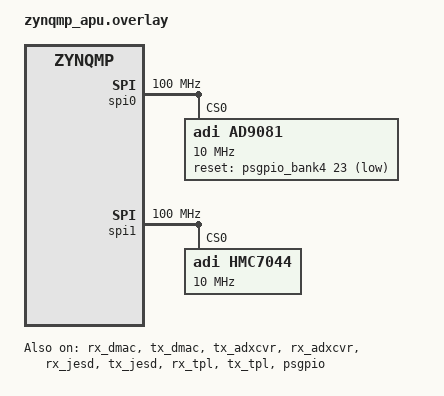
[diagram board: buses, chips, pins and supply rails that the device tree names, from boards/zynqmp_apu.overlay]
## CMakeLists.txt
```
# SPDX-License-Identifier: Apache-2.0

cmake_minimum_required(VERSION 3.20.0)
find_package(Zephyr REQUIRED HINTS $ENV{ZEPHYR_BASE})
project(ad9081_chipid)

target_sources(app PRIVATE
  src/main.c
  src/spi_mmio_fixup.c
  src/jesd_fsm.c
  src/jesd204_fsm.c
)

# Fault-injection tests: the failure/recovery paths a working board never takes.
# Off by default -- the tests break a live link on purpose.
target_sources_ifdef(CONFIG_AD9081_FAULT_INJECTION app PRIVATE
  src/fault_injection.c
)

target_include_directories(app PRIVATE src)
```

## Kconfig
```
# SPDX-License-Identifier: Apache-2.0

mainmenu "AD9081 JESD204B bring-up sample"

config AD9081_FAULT_INJECTION
	bool "Run JESD204 fault-injection tests after bring-up"
	help
	  Exercise the failure and recovery paths that a successful bring-up
	  never reaches: the FSM's failure accounting, the RX lane-desync
	  watchdog, link teardown followed by a second bring-up, and a GT
	  transceiver that cannot lock its PLL.

	  Enabling this compiles test-only hooks into axi_jesd204.c and
	  axi_adxcvr.c that let the tests force a lane-status value and
	  mis-program the RX GT clock mux. With it disabled (the default) none
	  of that code is built.

	  The tests deliberately break a working link and then rebuild it, so
	  do not leave this on in a normal build.

config AD9081_MXFE_INIT_PRIORITY
	int "AD9081/AD9082 MxFE init priority"
	default 70
	help
	  Initialisation priority of the AD9081 MxFE driver, within POST_KERNEL.

	  Must be above CONFIG_SPI_INIT_PRIORITY (default 50): the chip is
	  SPI-attached, and Zephyr SPI controllers initialise at POST_KERNEL.
	  There is a BUILD_ASSERT in ad9081.c for it.

	  Also above CONFIG_AD9081_JESD204_INIT_PRIORITY: the chip node points
	  at the two link cores with adi,jesd-{tx,rx}-link to read the link
	  geometry from them, and Zephyr treats a phandle as an init dependency
	  whether or not the driver dereferences the device at init (this one
	  does not -- it only reads their DT properties at build time).
	  check_init_priorities.py fails the build otherwise.

	  Nothing more is required, because init() only marks the device ready --
	  the chip is programmed by explicit ad9081_probe() /
	  ad9081_setup_datapath() calls from the bring-up sequence, which run
	  from main() and therefore after every driver here.

config AD9081_ADXCVR_INIT_PRIORITY
	int "AXI-ADXCVR (GT transceiver) init priority"
	default 65
	help
	  Initialisation priority of the AXI-ADXCVR driver, within POST_KERNEL.

	  Must be above CONFIG_CLOCK_CONTROL_HMC7044_INIT_PRIORITY: the adxcvr
	  nodes take `clocks = <&hmc7044 12>`, and Zephyr's init-priority
	  validation rejects a device that initialises before a devicetree
	  dependency. There is a BUILD_ASSERT in axi_adxcvr.c for it.

config AD9081_JESD204_INIT_PRIORITY
	int "AXI-JESD204 link-core init priority"
	default 65
	help
	  Initialisation priority of the AXI-JESD204 RX/TX link-core driver,
	  within POST_KERNEL.

	  Unconstrained in practice, same as the transport cores: the nodes have
	  no devicetree dependencies (this port does not model the PL lane and
	  device clocks, so there is no clocks phandle), and init() only marks
	  the devices ready. The register work is an explicit
	  axi_jesd204_configure() call from the bring-up sequence.

config AD9081_TPL_INIT_PRIORITY
	int "AXI-AD9081 transport-core (TPL) init priority"
	default 65
	help
	  Initialisation priority of the AXI-AD9081 RX/TX transport-core driver,
	  within POST_KERNEL.

	  Unconstrained in practice: the nodes have no devicetree dependencies
	  (the transport cores run off the sample clock inside the PL, so there
	  is no clocks phandle), and init() only marks the devices ready. The
	  register work is an explicit axi_tpl_configure() call from the
	  bring-up sequence.

source "Kconfig.zephyr"
```

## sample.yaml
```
sample:
  name: AD9081 + HMC7044 JESD204B bring-up
  description: >
    Bottom-up bring-up of the AD9081/AD9082 MxFE + HMC7044 clock over the
    ZynqMP PS Cadence SPI. Proves both SPI control planes (EMIO routing,
    clocking, CS, framing): HMC7044 scratchpad check on SPI1 and AD9081
    PROD_ID (0x9081/0x9082) on SPI0. Grows toward the full JESD204B link.
tests:
  sample.boards.amd.ad9081_chipid:
    platform_allow:
      - zynqmp_apu
    tags: spi
    harness: console
    harness_config:
      type: multi_line
      ordered: false
      regex:
        - "SUCCESS: HMC7044 scratchpad read/write confirmed"
        - "SUCCESS: AD90[89][12] detected over SPI"
```

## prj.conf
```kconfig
CONFIG_SPI=y
CONFIG_LOG=y
CONFIG_GPIO=y

# HMC7044 clock tree. The driver itself is enabled by its devicetree node
# (CONFIG_CLOCK_CONTROL_HMC7044 defaults to y on DT_HAS_ADI_HMC7044_ENABLED);
# this just turns the subsystem on.
CONFIG_CLOCK_CONTROL=y

# ADI JESD204 AXI IP cores in the PL: adxcvr, link cores, transport layer.
CONFIG_JESD204_AXI=y
CONFIG_AD9081_FAULT_INJECTION=n

# AD9081 datapath DMA engines (ADI AXI DMAC, RX S2MM + TX MM2S in the PL).
CONFIG_DMA=y

# 1:1 device_map() of the PL AXI IP-core pages (JESD204, adxcvr, TPL, DMA)
# each consume translation tables; the default (12) runs out. Give headroom.
CONFIG_MAX_XLAT_TABLES=24
CONFIG_LOG_MODE_IMMEDIATE=y
```

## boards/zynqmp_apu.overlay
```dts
#include <zephyr/dt-bindings/gpio/gpio.h>
#include <zephyr/dt-bindings/interrupt-controller/arm-gic.h>
#include <zephyr/dt-bindings/jesd204/adxcvr.h>

/*
 * Everything this sample needs is defined here in the overlay, so no shared
 * SoC/board devicetree files have to be touched. The arm64 zynqmp_a53.dtsi
 * ships without the PS SPI and PS GPIO controllers; we add them under /soc
 * (overlay nodes merge into the existing soc node).
 *
 * SPI0 -> AD9081/AD9082 (CS0), SPI1 -> HMC7044 (CS0), both PS Cadence SPI
 * routed over EMIO to the FMC. SPI reference clock is 100 MHz
 * (SPI0/1_REF_CTRL from the AD9081 XSA). On ZynqMP, no-OS maps the AD9081 to
 * PSU_SPI_0 / PHY_CS=0 and the HMC7044 to PSU_SPI_1 / CLK_CS=0.
 */
/ {
	soc {
		spi0: spi@ff040000 {
			compatible = "cdns,spi";
			reg = <0x0 0xff040000 0x0 0x1000>;
			status = "okay";
			interrupts = <GIC_SPI 19 IRQ_TYPE_LEVEL IRQ_DEFAULT_PRIORITY>;
			#address-cells = <1>;
			#size-cells = <0>;
			fifo-width = <8>;
			rx-fifo-depth = <128>;
			tx-fifo-depth = <128>;
			clock-frequency = <100000000>;

			/*
			 * AD9082 MxFE. Every value below is the no-OS
			 * zcu102_ad9081_m8_l4 profile
			 * (projects/ad9081/profiles/zcu102_ad9081_m8_l4/
			 * app_config.h), which is the ground truth for this
			 * board's wiring, cross-checked by
			 * tools/check_profile.py.
			 *
			 * Rates are in kHz: Zephyr's `type: int` is one 32-bit
			 * cell and the DAC runs at 12 GHz. NCO shifts stay in
			 * Hz -- they fit, and the vendor API takes Hz.
			 *
			 * Deliberately NOT here: the link geometry (M, L, F, K,
			 * N, NP, CS, S, subclass). It already lives in the
			 * tx_jesd/rx_jesd nodes below, once per direction, and
			 * a copy here is a third place for it to drift. The
			 * adi,jesd-{tx,rx}-link phandles point at those nodes
			 * and the driver reads it from them.
			 */
			ad9081: ad9081@0 {
				compatible = "adi,ad9081";
				reg = <0>;
				/* AD9081/AD9082 SPI: mode 0, MSB first.
				 * 10 MHz is safe for register access.
				 */
				spi-max-frequency = <10000000>;
				/*
				 * RSTB. no-OS zcu102 PHY_RESET =
				 * GPIO_OFFSET(78) + 55 = global PS GPIO 133 =
				 * EMIO pin 55 = bank4 (EMIO[63:32]) pin 23.
				 * Active low.
				 */
				reset-gpios = <&psgpio_bank4 23 GPIO_ACTIVE_LOW>;

				/*
				 * DAC 12 GHz, ADC 4 GHz, device REFCLK
				 * 250 MHz. REFCLK != DAC, so the vendor API
				 * engages the on-chip CLK PLL. The 250 MHz is
				 * the HMC7044's DEV_REFCLK (out2, divider 12
				 * off 3 GHz PLL2) above -- check_profile.py
				 * cross-checks the two.
				 */
				adi,dac-frequency-khz = <12000000>;
				adi,adc-frequency-khz = <4000000>;
				adi,ref-clk-frequency-khz = <250000>;

				adi,jesd-tx-link = <&tx_jesd>;
				adi,jesd-rx-link = <&rx_jesd>;

				/*
				 * FSM topology participants, fixed order
				 * (tx_adxcvr, rx_adxcvr, tx_jesd, rx_jesd) --
				 * see adi,jesd204-devices in adi,ad9081.yaml.
				 */
				adi,jesd204-devices =
					<&tx_adxcvr &rx_adxcvr &tx_jesd &rx_jesd>;

				/* Vendor link-mode table indices. */
				adi,tx-jesd-mode-id = <9>;
				adi,rx-jesd-mode-id = <10>;

				/*
				 * TX (chip JRX / deframer). 6 * 8 = 48x total
				 * interpolation: 12 GHz DAC / 48 = 250 MSPS,
				 * the link's sample rate.
				 */
				adi,tx-main-interpolation = <6>;
				adi,tx-channel-interpolation = <8>;
				adi,tx-dac-channel-crossbar =
					<0x1 0x2 0x4 0x8>;
				/* +2 GHz main NCO on all four DACs. */
				adi,tx-main-nco-shift-hz =
					<2000000000 2000000000
					 2000000000 2000000000>;
				adi,tx-channel-nco-shift-hz =
					<0 0 0 0 0 0 0 0>;
				/* 1024 = unity in the API's 1.10 format. */
				adi,tx-channel-gains =
					<1024 1024 1024 1024 0 0 0 0>;
				/* Board SERDES wiring; 7 = unconnected. */
				adi,tx-logical-lane-mapping = <0 2 7 7 1 7 7 3>;

				/*
				 * RX (chip JTX / framer). 4 * 4 = 16x total
				 * decimation: 4 GHz ADC / 16 = 250 MSPS, the
				 * same link rate from the other side.
				 */
				adi,rx-coarse-ddc-select = <0xf>;
				adi,rx-fine-ddc-select = <0x33>;
				adi,rx-coarse-decimation = <4 4 4 4>;
				/* 0 marks a fine DDC the select mask disables. */
				adi,rx-fine-decimation = <4 4 0 0 4 4 0 0>;
				adi,rx-coarse-nco-shift-hz =
					<2000000000 2000000000
					 2000000000 2000000000>;
				adi,rx-fine-nco-shift-hz =
					<0 0 0 0 0 0 0 0>;
				adi,rx-logical-lane-mapping = <2 0 7 7 7 7 3 1>;
				/*
				 * Virtual converter -> physical converter. Only
				 * the first M (8) entries are meaningful; the
				 * rest pad the vendor struct.
				 */
				adi,rx-link-converter-select =
					<0 1 2 3 8 9 10 11
					 0 0 0 0 0 0 0 0>;

				/*
				 * No adi,rx-{coarse,fine}-complex-to-real: the
				 * link carries complex samples, so both are
				 * all-zero and the driver defaults them.
				 */
			};
		};

		spi1: spi@ff050000 {
			compatible = "cdns,spi";
			reg = <0x0 0xff050000 0x0 0x1000>;
			status = "okay";
			interrupts = <GIC_SPI 20 IRQ_TYPE_LEVEL IRQ_DEFAULT_PRIORITY>;
			#address-cells = <1>;
			#size-cells = <0>;
			fifo-width = <8>;
			rx-fifo-depth = <128>;
			tx-fifo-depth = <128>;
			clock-frequency = <100000000>;

			/*
			 * HMC7044 clock generator, zcu102 + AD9082-FMC-EBZ-A2
			 * profile. Values are the no-OS PLATFORM_ZYNQMP
			 * (non-MCS) profile from projects/ad9081/src/
			 * app_clock.c, which is the ground truth for this
			 * board: 100 MHz VCXO/XO variant, 3 GHz PLL2.
			 *
			 * PLL2 is 3 GHz, so an output divider N gives
			 * 3000/N MHz. Every rate below is derived that way
			 * and is queryable at runtime with
			 * clock_control_get_rate().
			 */
			hmc7044: hmc7044@0 {
				compatible = "adi,hmc7044";
				reg = <0>;
				/* HMC7044 SPI: mode 0, MSB first.
				 * 10 MHz is safe for register access.
				 */
				spi-max-frequency = <10000000>;

				#clock-cells = <1>;
				#address-cells = <1>;
				#size-cells = <0>;

				/* CLKIN0 100 MHz, CLKIN1 10 MHz, CLKIN2/3 unused. */
				adi,pll1-clkin-frequencies =
					<100000000 10000000 0 0>;
				adi,vcxo-frequency = <100000000>;
				adi,pll2-output-frequency = <3000000000>;

				adi,pll1-loop-bandwidth-hz = <200>;
				adi,pll1-ref-prio-ctrl = <0xe4>;
				adi,sysref-timer-divider = <1024>;
				adi,pulse-generator-mode = <0>;
				adi,sync-pin-mode = <1>;

				/* 0x07 = AC-coupled diff on CLKIN0/1,
				 * 0x15 = DC-coupled on OSCIN, CLKIN2/3 off.
				 */
				adi,clkin0-buffer-mode = <0x07>;
				adi,clkin1-buffer-mode = <0x07>;
				adi,clkin2-buffer-mode = <0x00>;
				adi,clkin3-buffer-mode = <0x00>;
				adi,oscin-buffer-mode = <0x15>;

				adi,gpi-controls = <0x00 0x00 0x00 0x00>;
				adi,gpo-controls = <0x37 0x33 0x00 0x00>;

				/*
				 * Outputs. Any output without a node here is
				 * left disabled by the driver, which is how the
				 * unused half of the 14 are handled.
				 */
				hmc7044_c0: channel@0 {
					reg = <0>;
					adi,extended-name = "CORE_CLK_RX";
					adi,divider = <12>;    /* 250 MHz */
					adi,driver-mode = <2>; /* LVDS */
				};

				hmc7044_c2: channel@2 {
					reg = <2>;
					adi,extended-name = "DEV_REFCLK";
					adi,divider = <12>;    /* 250 MHz */
					adi,driver-mode = <2>;
				};

				hmc7044_c3: channel@3 {
					reg = <3>;
					adi,extended-name = "DEV_SYSREF";
					adi,divider = <1536>;  /* 1.953 MHz */
					adi,driver-mode = <2>;
					adi,jesd204-sysref-chan;
				};

				hmc7044_c6: channel@6 {
					reg = <6>;
					adi,extended-name = "CORE_CLK_TX";
					adi,divider = <12>;    /* 250 MHz */
					adi,driver-mode = <2>;
				};

				hmc7044_c8: channel@8 {
					reg = <8>;
					adi,extended-name = "CORE_CLK_RX_2";
					adi,divider = <6>;     /* 500 MHz */
					adi,driver-mode = <2>;
				};

				hmc7044_c10: channel@a {
					reg = <10>;
					adi,extended-name = "CORE_CLK_RX_ALT";
					adi,divider = <12>;    /* 250 MHz */
					adi,driver-mode = <2>;
				};

				/*
				 * The GT reference clock. Both adxcvr nodes
				 * below take clocks = <&hmc7044 12> and query
				 * this output's rate for their DRP divider
				 * solve rather than hardcoding 500 MHz.
				 */
				hmc7044_c12: channel@c {
					reg = <12>;
					adi,extended-name = "FPGA_REFCLK";
					adi,divider = <6>;     /* 500 MHz */
					adi,driver-mode = <2>;
				};

				hmc7044_c13: channel@d {
					reg = <13>;
					adi,extended-name = "FPGA_SYSREF";
					adi,divider = <1536>;  /* 1.953 MHz */
					adi,driver-mode = <2>;
					adi,jesd204-sysref-chan;
				};
			};
		};

		/*
		 * AD9081 datapath DMA engines in the PL (ADI AXI DMAC). Addresses
		 * from the on-board bitstream (system.hwh): RX is S2MM (device ->
		 * memory, ADC capture), TX is MM2S (memory -> device, DAC playback).
		 * Direction / data width / cyclic support are auto-probed by the
		 * driver from the core, so we only need reg here. No interrupt line
		 * is wired to the PS GIC for these cores; the driver falls back to
		 * its polling path (dma_get_status pumps the transfer).
		 *
		 * Bound but not driven, matching no-OS: its app.c calls
		 * axi_dmac_init() on both cores (app.c:456-457), which only reads
		 * back their capabilities and starts no transfer. The DAC is fed
		 * from the transport core's DDS instead, so neither engine is in the
		 * datapath -- see the note in src/main.c.
		 */
		rx_dmac: dma@9c420000 {
			compatible = "adi,axi-dmac";
			reg = <0x0 0x9c420000 0x0 0x10000>;
			#dma-cells = <1>;
			status = "okay";
		};

		tx_dmac: dma@9c430000 {
			compatible = "adi,axi-dmac";
			reg = <0x0 0x9c430000 0x0 0x10000>;
			#dma-cells = <1>;
			status = "okay";
		};

		/*
		 * GT transceivers (ADI AXI-ADXCVR around Xilinx GTH4), one node
		 * per JESD204 direction. Addresses from the on-board bitstream
		 * (system.hwh); node names and property values match ADI's Linux
		 * overlay for this board
		 * (zynqmp-zcu102-rev10-ad9081-m8-l4-overlay.dts:434-472) except
		 * for the two clock-mux selections, which differ deliberately --
		 * see below.
		 *
		 * reg covers a full 64 KiB page, not ADI's 0x1000: the register
		 * block is smaller, but this is what gets device_map()ed and the
		 * MMU granularity here is a page.
		 */
		tx_adxcvr: adxcvr@84b60000 {
			compatible = "adi,axi-adxcvr-1.0";
			reg = <0x0 0x84b60000 0x0 0x10000>;
			status = "okay";

			/*
			 * Kept so the driver's log lines stay byte-identical to
			 * the pre-devicetree code's, which the golden boot log
			 * was captured from.
			 */
			label = "tx_adxcvr";

			clocks = <&hmc7044 12>;

			/*
			 * QPLL0 + PROGDIV, and 10 Gbps lanes.
			 *
			 * This is no-OS's PLATFORM_ZYNQMP configuration
			 * (app_jesd.c:105-117), not ADI's Linux overlay, which
			 * has XCVR_QPLL + XCVR_REFCLK_DIV2 for a different
			 * bitstream. PROGDIV is what this PL was synthesised
			 * for: with REFCLK_DIV2 the GT output clock does not run
			 * and RESET_DONE never asserts.
			 */
			adi,sys-clk-select = <XCVR_QPLL>;
			adi,out-clk-select = <XCVR_PROGDIV_CLK>;
			adi,lane-rate-khz = <10000000>;
		};

		rx_adxcvr: adxcvr@84a60000 {
			compatible = "adi,axi-adxcvr-1.0";
			reg = <0x0 0x84a60000 0x0 0x10000>;
			status = "okay";
			label = "rx_adxcvr";

			clocks = <&hmc7044 12>;

			/* CPLL on the receive side (no-OS app_jesd.c:121-129). */
			adi,sys-clk-select = <XCVR_CPLL>;
			adi,out-clk-select = <XCVR_PROGDIV_CLK>;
			adi,lane-rate-khz = <10000000>;

			/* LPM equalisation rather than DFE -- RX only. */
			adi,use-lpm-enable;
		};

		/*
		 * JESD204 link cores, one per direction: the framer's and the
		 * deframer's link layer, between the GT transceivers and the
		 * transport cores. Addresses from the on-board bitstream
		 * (system.hwh); node names and compatibles match ADI's
		 * devicetree for this board
		 * (zynqmp-zcu102-rev10-ad9081-default.dtsi, axi_ad9081_rx_jesd
		 * / axi_ad9081_tx_jesd).
		 *
		 * As with the adxcvr nodes, reg covers a full 64 KiB page
		 * rather than ADI's 0x1000: the register block is smaller, but
		 * this is what gets device_map()ed and MMU granularity here is
		 * a page.
		 *
		 * The geometry below is one link described from both ends, so
		 * every parameter both nodes carry has to agree -- there are
		 * BUILD_ASSERTs in axi_jesd204.c for each, and
		 * tools/check_profile.py checks them against the bitstream's
		 * make parameters. M8 L4 F4 K32 N16 NP16 S1 CS0, subclass 1.
		 *
		 * Deliberately NOT here: adi,high-density. HD is 1 only when a
		 * sample splits across lanes, which M/S/NP/L decide -- the
		 * driver derives it (0 for this geometry) and asserts the
		 * result. no-OS's profile says HD=1 for this same link, which
		 * is wrong and harmless at F=4; a settable property is how that
		 * would get copied back in.
		 */
		rx_jesd: axi-jesd204-rx@84a90000 {
			compatible = "adi,axi-jesd204-rx-1.0";
			reg = <0x0 0x84a90000 0x0 0x10000>;
			status = "okay";

			/*
			 * Kept so the driver's log lines stay byte-identical to
			 * the pre-devicetree code's, which the golden boot log
			 * was captured from.
			 */
			label = "jesd204-rx";

			adi,lanes-per-device = <4>;
			adi,converters-per-device = <8>;
			adi,octets-per-frame = <4>;
			adi,frames-per-multiframe = <32>;
			adi,bits-per-sample = <16>;
			adi,subclass = <1>;

			/*
			 * No adi,converter-resolution / -control-bits-per-sample
			 * / -samples-per-converter-per-frame: the framer
			 * receives the ILAS it is described in rather than
			 * announcing one, so N, CS and S never reach a register
			 * on this side. no-OS's RX core struct has no fields for
			 * them either.
			 */
		};

		tx_jesd: axi-jesd204-tx@84b90000 {
			compatible = "adi,axi-jesd204-tx-1.0";
			reg = <0x0 0x84b90000 0x0 0x10000>;
			status = "okay";
			label = "jesd204-tx";

			adi,lanes-per-device = <4>;
			adi,converters-per-device = <8>;
			adi,octets-per-frame = <4>;
			adi,frames-per-multiframe = <32>;
			adi,bits-per-sample = <16>;
			adi,subclass = <1>;

			/* ILAS-only, so the deframer carries these and the
			 * framer does not.
			 */
			adi,converter-resolution = <16>;
			adi,control-bits-per-sample = <0>;
			adi,samples-per-converter-per-frame = <1>;
		};

		/*
		 * JESD204 transport ("TPL") cores, one per direction. These sit
		 * between the link cores and the DMA, mapping link octets to and
		 * from converter samples. Addresses from the on-board bitstream
		 * (system.hwh); node names and compatibles match ADI's Linux
		 * overlay for this board
		 * (zynqmp-zcu102-rev10-ad9081-m8-l4-overlay.dts, axi_ad9081_core_rx
		 * / axi_ad9081_core_tx).
		 *
		 * As with the adxcvr nodes, reg covers a full 64 KiB page rather
		 * than ADI's 0x8000/0x4000: the register block is smaller, but this
		 * is what gets device_map()ed and MMU granularity here is a page.
		 */
		rx_tpl: axi-ad9081-rx@84a10000 {
			compatible = "adi,axi-ad9081-rx-1.0";
			reg = <0x0 0x84a10000 0x0 0x10000>;
			status = "okay";

			/*
			 * Kept so the driver's log lines stay byte-identical to
			 * the pre-devicetree code's, which the golden boot log
			 * was captured from.
			 */
			label = "adc-tpl";

			/* One channel per converter: M8. */
			adi,num-channels = <8>;

			/* no-OS axi_adc_init() requires PCORE major >= 9. */
			adi,pcore-version-min-major = <9>;
		};

		tx_tpl: axi-ad9081-tx@84b10000 {
			compatible = "adi,axi-ad9081-tx-1.0";
			reg = <0x0 0x84b10000 0x0 0x10000>;
			status = "okay";
			label = "dac-tpl";

			adi,num-channels = <8>;

			/*
			 * No adi,pcore-version-min-major: this core reports v9
			 * and no-OS axi_dac_init() does not version-check the
			 * DAC side at all, unlike the ADC side.
			 */
		};

		psgpio: gpio@ff0a0000 {
			compatible = "xlnx,ps-gpio";
			status = "okay";
			reg = <0x0 0xff0a0000 0x0 0x1000>;
			interrupts = <GIC_SPI 16 IRQ_TYPE_LEVEL IRQ_DEFAULT_PRIORITY>;
			interrupt-names = "irq_0";

			#address-cells = <1>;
			#size-cells = <0>;

			/* MIO banks 0..2, EMIO banks 3..5 (see xlnx,ps-gpio). */
			psgpio_bank0: psgpio_bank@0 {
				compatible = "xlnx,ps-gpio-bank";
				reg = <0x0>;
				gpio-controller;
				#gpio-cells = <2>;
				ngpios = <26>;
				status = "okay";
			};

			psgpio_bank1: psgpio_bank@1 {
				compatible = "xlnx,ps-gpio-bank";
				reg = <0x1>;
				gpio-controller;
				#gpio-cells = <2>;
				ngpios = <26>;
				status = "okay";
			};

			psgpio_bank2: psgpio_bank@2 {
				compatible = "xlnx,ps-gpio-bank";
				reg = <0x2>;
				gpio-controller;
				#gpio-cells = <2>;
				ngpios = <26>;
				status = "okay";
			};

			psgpio_bank3: psgpio_bank@3 {
				compatible = "xlnx,ps-gpio-bank";
				reg = <0x3>;
				gpio-controller;
				#gpio-cells = <2>;
				ngpios = <32>;
				status = "okay";
			};

			psgpio_bank4: psgpio_bank@4 {
				compatible = "xlnx,ps-gpio-bank";
				reg = <0x4>;
				gpio-controller;
				#gpio-cells = <2>;
				ngpios = <32>;
				status = "okay";
			};

			psgpio_bank5: psgpio_bank@5 {
				compatible = "xlnx,ps-gpio-bank";
				reg = <0x5>;
				gpio-controller;
				#gpio-cells = <2>;
				ngpios = <32>;
				status = "okay";
			};
		};
	};

};
```

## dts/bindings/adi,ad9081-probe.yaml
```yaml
# SPDX-License-Identifier: Apache-2.0
#
# Minimal binding for the AD9081 SPI chip-ID probe sample. Just an SPI device
# with a reset (RSTB) GPIO -- not a full AD9081 driver binding.

description: AD9081 SPI chip-ID probe device

compatible: "adi,ad9081-probe"

include:
  - name: spi-device.yaml

properties:
  reset-gpios:
    type: phandle-array
    description: AD9081 hardware reset (RSTB), active low.
```

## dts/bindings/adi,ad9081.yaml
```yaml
# SPDX-License-Identifier: Apache-2.0
#
# ADI AD9081/AD9082 MxFE (mixed-signal front end): 4 DAC + 4 ADC with an
# on-chip JESD204 framer (JTX) and deframer (JRX).
#
# Property names follow ADI's Linux binding for this part (the node axi_ad9081
# in zynqmp-zcu102-rev10-ad9081-m8-l4-overlay.dts). The compatible is
# "adi,ad9081" for both parts, as ADI's driver does: they are the same family
# behind one register map, and the difference is a PROD_ID the driver reads back
# and reports.
#
# Rates are in kHz, not Hz. Zephyr's `type: int` is a single 32-bit cell -- a
# /bits/ 64 value is rejected by dtlib -- and the DAC runs at 12 GHz. kHz keeps
# every rate exact (12 GHz = 12000000 kHz) in one cell, and matches the local
# adi,lane-rate-khz precedent and no-OS's own kHz spellings.
#
# NOT ported from the Linux node, and why:
#   clocks / clock-names -- Linux takes the device REFCLK as a phandle to the
#     HMC7044 output that drives it. Stated as a rate here instead: the REFCLK
#     output (DEV_REFCLK, out2) is not the one this port queries, and adding a
#     second consumer of the HMC7044 would reorder init against a driver whose
#     rates are already verified. adi,ref-clk-frequency-khz must equal that
#     output's rate -- tools/check_profile.py cross-checks the two.
#   adi,jesd-* geometry (M, L, F, K, N, NP, CS, S, subclass) -- deliberately
#     absent. Those numbers already live in the tx_jesd/rx_jesd link-core nodes,
#     one per direction, and restating them here would make a third copy of the
#     same link description for the drift to happen between. The chip node
#     points at the two cores with adi,jesd-tx-link / adi,jesd-rx-link and the
#     driver reads the geometry from whichever one describes that direction.
#   jesd204-device / #jesd204-cells / jesd204-inputs -- Linux's generic JESD204
#     framework binding. Not ported: this board has one converter and two
#     fixed links, so the full jesd204-cells indirection is unwarranted
#     generality. adi,jesd204-devices below is the minimal equivalent this
#     port actually needs -- see it for what devicetree does and does not
#     control about the FSM topology.

description: |
  ADI AD9081/AD9082 MxFE.

  init() only marks the device ready. The chip is brought up by explicit
  ad9081_probe() / ad9081_setup_datapath() calls from the bring-up sequence,
  which configure the converter datapath and both JESD204 links but hold the
  links disabled -- activating them has to happen together with the FPGA
  transceiver and link cores, which init-level ordering cannot express.

compatible: "adi,ad9081"

include:
  - name: spi-device.yaml

properties:
  reset-gpios:
    type: phandle-array
    description: |
      AD9081 hardware reset (RSTB), active low. Optional: without it the
      vendor API's hard-reset path degrades to a register-write soft reset.

      No `label` property, unlike the PL core nodes here: this driver's log
      lines carry the LOG_MODULE_REGISTER(ad9081) prefix rather than
      dev->name, so the node name never reaches the boot log.

  # ---------------------------------------------------------------- clocks ---

  adi,dac-frequency-khz:
    type: int
    required: true
    description: |
      DAC sample rate. Not free: the TX interpolation factors divide it down to
      the JESD204 sample rate the link carries, so it must equal
      adc-frequency-khz * (TX interp product) / (RX decim product) for a link
      that runs both directions at one rate.

  adi,adc-frequency-khz:
    type: int
    required: true
    description: ADC sample rate.

  adi,ref-clk-frequency-khz:
    type: int
    required: true
    description: |
      Device REFCLK at the chip's pin, from the HMC7044's DEV_REFCLK output.
      The on-chip CLK PLL is engaged whenever this differs from the DAC rate,
      which the driver leaves to the vendor API to decide.

  # ------------------------------------------------------- link references ---

  adi,jesd-tx-link:
    type: phandle
    required: true
    description: |
      The link core describing the TX (DAC) direction, which the chip's JRX
      deframer terminates. The driver takes M, L, F, K, N, NP, CS, S and
      subclass from this node rather than from its own properties, so one link
      is described in one place.

      ADI names both ends of a link by datapath direction, so this is the
      tx_jesd core and the chip's *receiving* deframer -- not a crossover.

  adi,jesd-rx-link:
    type: phandle
    required: true
    description: |
      The link core describing the RX (ADC) direction, which the chip's JTX
      framer sources. Geometry is read from it as for the TX link.

  adi,tx-jesd-mode-id:
    type: int
    required: true
    description: |
      Vendor link-mode index for the deframer (9 for M8/L4/F4 on this profile).
      Redundant with the geometry in principle -- the vendor API uses it to
      select an internal table -- but the API takes it as an input and there is
      no exported mapping to derive it from, so it is stated and cross-checked.

  adi,rx-jesd-mode-id:
    type: int
    required: true
    description: Vendor link-mode index for the framer (10 on this profile).

  adi,jesd204-devices:
    type: phandles
    required: true
    description: |
      The FPGA-side devices that take part in this chip's JESD204 bring-up:
      tx_adxcvr, rx_adxcvr, tx_jesd, rx_jesd, in that fixed order (one entry
      per role -- jesd_fsm.c indexes this array positionally, not by name).

      This says which devices PARTICIPATE. It does not say in what order they
      are visited within a bring-up phase, or which phases they participate
      in -- both of those are hardware dependency order (GT reset-release
      before the converter's JESD PLL check, etc.) and stay fixed in
      jesd_fsm.c's board_topology_devs[], not devicetree. Removing a role here
      (or giving its node status = "disabled") removes it from the topology; a
      board cannot reorder the remaining roles by editing this property.

      No relation to Linux's jesd204-device / #jesd204-cells framework -- see
      the note above this property block for why that generality is not
      ported.

  # ------------------------------------------------------------- TX (JRX) ---

  adi,tx-main-interpolation:
    type: int
    required: true
    description: Coarse (main datapath) interpolation factor.

  adi,tx-channel-interpolation:
    type: int
    required: true
    description: Fine (per-channel) interpolation factor.

  adi,tx-dac-channel-crossbar:
    type: array
    required: true
    description: |
      Per-DAC bitmask of which channelisers feed it, one entry per DAC (4).
      Board wiring, from the no-OS profile.

  adi,tx-main-nco-shift-hz:
    type: array
    required: true
    description: |
      Main (coarse) DAC NCO frequency shift, one entry per DAC (4), in Hz.
      Signed. Hz rather than kHz here because these are exact in one cell at
      the values this chip supports and the vendor API takes Hz.

  adi,tx-channel-nco-shift-hz:
    type: array
    required: true
    description: Fine (per-channel) DAC NCO shift, one entry per channel (8), Hz.

  adi,tx-channel-gains:
    type: array
    required: true
    description: |
      Per-channel digital gain, one entry per channel (8). 1024 is unity in the
      vendor API's 1.10 fixed-point format; 0 disables the channel.

  adi,tx-logical-lane-mapping:
    type: array
    required: true
    description: |
      Deframer lane crossbar: for each of the 8 physical lanes, which logical
      link lane it carries. 7 marks a lane that is not connected. Board wiring
      (which SERDES pin goes to which FMC lane), so it comes from the no-OS
      profile and is not derivable.

      "-mapping", not "-map": edtlib treats any property ending in "-map" as a
      specifier map (like gpio-map) and demands a matching #<name>-cells. It is
      also no-OS's own field name (logical_lane_mapping, ad9081.h:147).

  # ------------------------------------------------------------- RX (JTX) ---

  adi,rx-coarse-ddc-select:
    type: int
    required: true
    description: Bitmask of enabled coarse DDCs (0xF = all 4).

  adi,rx-fine-ddc-select:
    type: int
    required: true
    description: Bitmask of enabled fine DDCs (0x33 = DDCs 0, 1, 4, 5).

  adi,rx-coarse-decimation:
    type: array
    required: true
    description: |
      Coarse DDC decimation ratio, one entry per coarse DDC (4). Stated as the
      ratio (4), not the vendor register code -- the codes are not monotonic
      (AD9081_CDDC_DCM_4 is 0x1, DCM_2 is 0x0) so a raw code in devicetree
      would be unreadable and unreviewable. The driver maps ratio -> code and
      rejects a ratio the part does not offer.

  adi,rx-fine-decimation:
    type: array
    required: true
    description: |
      Fine DDC decimation ratio, one entry per fine DDC (8), as above. 0 marks
      a disabled fine DDC, matching the no-OS profile's spelling.

  adi,rx-coarse-nco-shift-hz:
    type: array
    required: true
    description: Coarse DDC NCO shift, one entry per coarse DDC (4), in Hz. Signed.

  adi,rx-fine-nco-shift-hz:
    type: array
    required: true
    description: Fine DDC NCO shift, one entry per fine DDC (8), in Hz. Signed.

  adi,rx-coarse-complex-to-real:
    type: array
    description: |
      Per-coarse-DDC complex-to-real conversion enable (4 entries). Omit for
      all-zero, which is this profile: the link carries complex samples.

  adi,rx-fine-complex-to-real:
    type: array
    description: Per-fine-DDC complex-to-real conversion enable (8 entries).

  adi,rx-logical-lane-mapping:
    type: array
    required: true
    description: |
      Framer lane crossbar, same meaning and provenance as
      adi,tx-logical-lane-mapping. Not the same values: transmit and receive are
      wired independently on this board.

  adi,rx-link-converter-select:
    type: array
    required: true
    description: |
      Which physical converter each of the 16 virtual converters on the link
      carries. Only the first M (8) entries are meaningful; the rest are
      padding the vendor struct requires.
```

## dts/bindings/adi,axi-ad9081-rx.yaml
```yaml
# SPDX-License-Identifier: Apache-2.0
#
# ADI AXI-AD9081 RX transport core (the JESD204 "TPL", framer side).
#
# Property names follow ADI's Linux binding for this IP. There is no YAML
# upstream; the compatible string is the of_match entry in
# drivers/iio/adc/cf_axi_adc_core.c:941 and the node in ADI's overlay for this
# board is zynqmp-zcu102-rev10-ad9081-m8-l4-overlay.dts (axi_ad9081_core_rx).
#
# NOT ported from the Linux node, and why:
#   dmas / dma-names -- the DMA engines are bound but never driven here, exactly
#     as in no-OS: its app.c calls axi_dmac_init() on both cores and starts no
#     transfer. The DAC is fed from the transport core's DDS instead, so neither
#     engine is in the datapath. The rx_dmac/tx_dmac nodes exist separately.
#   spibus-connected -- Linux uses the phandle to reach the converter's
#     sample-rate and channel description through the SPI driver. This port
#     configures the chip directly through the vendor API, so the transport core
#     needs nothing from it.
#   jesd204-device / #jesd204-cells / jesd204-inputs -- the FSM topology is
#     still expressed in C (jesd_fsm.c). Moving it to devicetree is PLAN step 7,
#     and these are the properties it will use.

description: |
  ADI AXI-AD9081 RX transport core: maps JESD204 link octets to converter
  samples and owns the per-converter receive datapath (sample format,
  sign extension, channel enable).

  Configure-only at boot -- the core's STATUS/CLK_FREQ registers only read
  valid once the link and sample clocks are running, so that check is deferred
  to the bring-up sequence.

compatible: "adi,axi-ad9081-rx-1.0"

include: base.yaml

properties:
  reg:
    required: true
    description: |
      A full 64 KiB page, not ADI's 0x8000. The register block is smaller, but
      this is what gets device_map()ed and the MMU granularity here is a page.

  label:
    description: |
      Deliberately used here, despite the general deprecation. Every log line
      this driver emits is prefixed with the device name and the boot log is
      diffed against a reference captured from hardware; "adc-tpl" keeps those
      lines byte-identical to what the pre-devicetree code produced, where the
      node name "axi-ad9081-rx@84a10000" would not.

  adi,num-channels:
    type: int
    required: true
    description: |
      Number of converter datapath channels in the core.

      NOT an ADI Linux property: there the channel count comes from the
      converter description the spibus-connected phandle reaches. It is not
      free -- it must equal the link's M, because the transport core has one
      channel per converter. tools/check_profile.py cross-checks it against M,
      and there is a BUILD_ASSERT in the driver.

  adi,pcore-version-min-major:
    type: int
    description: |
      Reject the core if its PCORE major version is below this. Omit to accept
      any version. no-OS axi_adc_init() requires >= 9 on the ADC core; the DAC
      core is not version-checked there, which is why this is per-node rather
      than a driver constant.
```

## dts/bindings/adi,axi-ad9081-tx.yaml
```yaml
# SPDX-License-Identifier: Apache-2.0
#
# ADI AXI-AD9081 TX transport core (the JESD204 "TPL", deframer side).
#
# Same IP family as adi,axi-ad9081-rx-1.0 and the same register offsets for
# VERSION/RSTN/CLK_FREQ/CLK_RATIO/STATUS, but a different per-channel register
# map (data-source select and DDS instead of sample format), so ADI gives it its
# own compatible and its own driver: the of_match entry is
# drivers/iio/frequency/cf_axi_dds.c:2234, and the node in ADI's overlay for
# this board is zynqmp-zcu102-rev10-ad9081-m8-l4-overlay.dts
# (axi_ad9081_core_tx).
#
# Deliberately two compatibles here as well, rather than one node type with a
# direction flag: the direction is not configuration, it is which IP core this
# is, and splitting it lets each side's properties be required where they apply.
#
# NOT ported from the Linux node, and why:
#   dmas / dma-names / adi,axi-data-offload-connected / adi,axi-pl-fifo-enable
#     -- the DAC is driven from this core's internal DDS, so the DMA and
#     data-offload cores are not in the datapath at all. See the long comment
#     in src/axi_tpl.c on axi_tpl_tx_dds().
#   clocks / clock-names ("sampl_clk") -- Linux takes the sample clock from the
#     converter through the Common Clock Framework, to compute DDS phase
#     increments. This port has no clock provider for the chip's sample clock;
#     the rate is passed to axi_tpl_tx_dds() by the caller instead.
#   spibus-connected, jesd204-* -- as for the RX binding.

description: |
  ADI AXI-AD9081 TX transport core: maps converter samples to JESD204 link
  octets and owns the per-converter transmit datapath (data-source select and
  the internal DDS tone generators).

  Configure-only at boot -- the core's STATUS/CLK_FREQ registers only read
  valid once the link and sample clocks are running, so that check is deferred
  to the bring-up sequence.

compatible: "adi,axi-ad9081-tx-1.0"

include: base.yaml

properties:
  reg:
    required: true
    description: |
      A full 64 KiB page, not ADI's 0x4000. The register block is smaller, but
      this is what gets device_map()ed and the MMU granularity here is a page.

  label:
    description: |
      Deliberately used here, despite the general deprecation. Every log line
      this driver emits is prefixed with the device name and the boot log is
      diffed against a reference captured from hardware; "dac-tpl" keeps those
      lines byte-identical to what the pre-devicetree code produced, where the
      node name "axi-ad9081-tx@84b10000" would not.

  adi,num-channels:
    type: int
    required: true
    description: |
      Number of converter datapath channels in the core. Must equal the link's
      M -- see the RX binding for why this is not an ADI property and not free.

  adi,pcore-version-min-major:
    type: int
    description: |
      Reject the core if its PCORE major version is below this. Omit to accept
      any version, which is what this board does: the TX core reports v9 and
      no-OS axi_dac_init() does not version-check it at all, unlike the ADC
      core. The property exists so the check is expressible rather than
      hardcoded per direction.
```

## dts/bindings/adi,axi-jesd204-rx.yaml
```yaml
# SPDX-License-Identifier: Apache-2.0
#
# ADI AXI-JESD204 RX link core (the JESD204B framer's link layer).
#
# Property names follow ADI's Linux binding for this IP
# (Documentation/devicetree/bindings/iio/jesd204/adi,jesd204-rx.txt); the
# compatible string is the of_match entry in
# drivers/iio/jesd204/axi_jesd204_rx.c:1355 and the node in ADI's devicetree for
# this board is zynqmp-zcu102-rev10-ad9081-default.dtsi (axi_ad9081_rx_jesd).
#
# Properties ADI's RX binding lists that are NOT here, and why:
#   adi,high-density -- HD is meaningful on the deframer only: the framer
#     RECEIVES the ILAS it is described in, it does not announce one. ADI's Linux
#     RX driver parses the property into config->high_density and then never
#     reads it again (axi_jesd204_rx.c:598 is the only occurrence), and no-OS's
#     RX core struct has no HD field at all. So a shared HD would be the wrong
#     SHAPE, not just a wrong value. See adi,axi-jesd204-tx.yaml, where HD is
#     derived rather than settable.
#   adi,sysref-lmfc-offset -- 0 for this board, which is the driver's behaviour
#     with the property absent. Nothing here programs a non-zero offset.
#
# Properties of ADI's Linux node that are NOT ported, and why:
#   clocks / clock-names (s_axi_aclk, device_clk, lane_clk) -- this port has no
#     PL clock provider, and unlike the adxcvr nodes this driver never queries a
#     rate: the link core is told its geometry, not its clock. A phandle nothing
#     reads would add an init-ordering constraint to document a wiring fact the
#     comments already state.
#   #clock-cells / clock-output-names -- the lane clock this core exports in
#     Linux is consumed through the Common Clock Framework, which this port does
#     not have; the lane-clock enable is a direct call from the bring-up
#     sequence instead.
#   interrupts -- the driver is polled. No ISR is registered, so the PL
#     interrupt line is left unconnected on the PS GIC.
#   jesd204-device / #jesd204-cells / jesd204-inputs -- the FSM topology is
#     still expressed in C (jesd_fsm.c). Moving it to devicetree is PLAN step 7,
#     and these are the properties it will use.

description: |
  ADI AXI-JESD204 RX link core: the receive link layer between the GT
  transceiver and the RX transport core. Handles code-group sync, lane
  alignment and descrambling, and reports per-lane sync status.

  Configure-only at boot -- the geometry is programmed with the link held
  disabled, because a JESD204 link only comes alive when the transceiver, both
  link cores, SYSREF and the converter are activated together.

compatible: "adi,axi-jesd204-rx-1.0"

include: base.yaml

properties:
  reg:
    required: true
    description: |
      A full 64 KiB page, not ADI's 0x1000. The register block is smaller, but
      this is what gets device_map()ed and the MMU granularity here is a page.

  label:
    description: |
      Deliberately used here, despite the general deprecation. Every log line
      this driver emits is prefixed with the device name and the boot log is
      diffed against a reference captured from hardware; "jesd204-rx" keeps
      those lines byte-identical to what the pre-devicetree code produced,
      where the node name "axi-jesd204-rx@84a90000" would not.

  adi,octets-per-frame:
    type: int
    required: true
    description: |
      Octets per frame (F). Programmed into LINK_CONF0 bits [23:16] as F-1, and
      with K it gives the octets per multiframe the core aligns on.

  adi,frames-per-multiframe:
    type: int
    required: true
    description: |
      Frames per multiframe (K). K * F octets per multiframe must be a whole
      multiple of the core's synthesised data-path width; the driver checks it
      at runtime, because the width is read from the core rather than declared.

  adi,converters-per-device:
    type: int
    required: true
    description: |
      Converters per device (M). Not an ADI Linux RX property -- there M is
      only carried on the TX side, which needs it for ILAS. Here the framer
      reports it in its "configured" log line so the two cores' geometry is
      visible side by side in the boot log, and it must equal the TX node's M
      (BUILD_ASSERT) and the transport core's adi,num-channels.

  adi,bits-per-sample:
    type: int
    required: true
    description: |
      Bits per sample (NP). As with M, not an ADI Linux RX property; carried
      here for the identity log line and pinned to the TX node's value.

  adi,lanes-per-device:
    type: int
    required: true
    description: |
      Lanes per link (L). Not an ADI Linux property for this IP: Linux takes the
      lane count from the core's own SYNTH_NUM_LANES register. This port states
      it as well, for two reasons -- the driver warns when the synthesised count
      disagrees with it (which is how a wrong bitstream is caught), and
      tools/check_profile.py cross-checks it against the bitstream's
      RX_JESD_L/TX_JESD_L make parameters.

  adi,subclass:
    type: int
    default: 1
    description: |
      JESD204B subclass. Subclass 1 (the default, and what this board is) means
      SYSREF is used for deterministic latency, so the driver leaves
      SYSREF_DISABLE clear and does not enable buffer-early-release -- both of
      which no-OS only does for subclass 0.
```

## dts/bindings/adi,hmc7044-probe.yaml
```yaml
# SPDX-License-Identifier: Apache-2.0
#
# Minimal binding for the HMC7044 SPI scratchpad probe. Just a plain SPI device
# -- not a full HMC7044 clock driver binding. The HMC7044 has no hardware reset
# pin on this board (it soft-resets over SPI).

description: HMC7044 SPI scratchpad probe device

compatible: "adi,hmc7044-probe"

include:
  - name: spi-device.yaml
```

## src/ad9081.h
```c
/*
 * AD9081/AD9082 MxFE.
 *
 * One devicetree node per chip (compatible "adi,ad9081"), so every entry point
 * takes the device it acts on.
 *
 * SPDX-License-Identifier: Apache-2.0
 */

#ifndef AD9081_H_
#define AD9081_H_

#include <stdint.h>

#include <zephyr/device.h>

/*
 * Probe the chip over its SPI bus: pulse RSTB, set 4-wire mode, read PROD_ID.
 * Accepts 0x9081 and 0x9082 -- same family, same register map. Stores the
 * 16-bit PROD_ID read back in *prod_id when non-NULL. Returns 0 on success,
 * negative errno otherwise.
 *
 * The bus controller's register page is 1:1 mapped by a PRE_KERNEL_1 SYS_INIT
 * in spi_mmio_fixup.c, working around the upstream Cadence SPI driver not using
 * DEVICE_MMIO -- see the comment there.
 */
int ad9081_probe(const struct device *dev, uint16_t *prod_id);

/*
 * Configure the MxFE datapath (configure-only): on-chip CLK PLL, TX interp +
 * DAC NCOs + JRX deframer link params, RX decim + ADC NCOs + JTX framer link
 * params and converter/lane mapping. Mirrors no-OS ad9081_setup(); the device's
 * JESD links are configured but NOT enabled -- enabling is done by the bring-up
 * sequence together with the FPGA cores. Must run after ad9081_probe().
 * Returns 0 on success, negative errno otherwise.
 */
int ad9081_setup_datapath(const struct device *dev);

/*
 * Accessor for the ADI device handle (adi_ad9081_device_t *), so the JESD204
 * bring-up sequence can drive the chip-side link enable / status APIs. Returned
 * as void * to keep the heavy ADI headers out of this interface; the FSM casts
 * it back. NULL if dev is NULL. Valid after ad9081_probe().
 *
 * A leak, and going away: it welds jesd_fsm.c to this one chip. Replaced by
 * driver ops in a following commit -- do not add call sites.
 */
void *ad9081_get_device(const struct device *dev);

#endif /* AD9081_H_ */
```

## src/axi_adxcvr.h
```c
/*
 * AXI ADXCVR -- GT transceiver (PHY) bring-up.
 *
 * One device per JESD204 direction, from devicetree (compatible
 * "adi,axi-adxcvr-1.0"). Get the handles with
 * DEVICE_DT_GET(DT_NODELABEL(tx_adxcvr)) / (rx_adxcvr).
 *
 * SPDX-License-Identifier: Apache-2.0
 */

#ifndef AXI_ADXCVR_H_
#define AXI_ADXCVR_H_

#include <zephyr/device.h>

/*
 * Configure one transceiver: read back SYNTH/VERSION, select the PLL source +
 * output-clock mux (REG_CONTROL) and program the GT dividers over DRP, holding
 * the core in reset.
 *
 * This is the DEVICE_INIT-phase step: it programs registers but does NOT gate on
 * transceiver-ready -- the GT status only becomes meaningful once the JESD204
 * link layer and SYSREF are brought up around it. Returns 0 on success.
 *
 * Not done from the driver's own init(): it needs the GT reference clock rate
 * from the HMC7044, and that chip is SPI-attached and so programs itself at
 * POST_KERNEL. Reading its rate any earlier reads an unprogrammed chip.
 */
int axi_adxcvr_configure(const struct device *dev);

/*
 * Release the GT reset and poll for transceiver-ready, clearing any
 * elastic-buffer under/overflow. This is the CLOCKS_ENABLE-phase step and must
 * be driven by the JESD204 bring-up sequence (after link setup + SYSREF), NOT
 * called standalone -- doing so times out because the datapath isn't clocked
 * yet. Returns 0 when the transceiver reports ready, negative errno otherwise.
 *
 * Per direction rather than both at once, so the bring-up sequence can attempt
 * (and report) each GT independently instead of bailing on the first failure.
 */
int axi_adxcvr_enable(const struct device *dev);

#ifdef CONFIG_AD9081_FAULT_INJECTION
#include <stdint.h>

/*
 * Fault-injection hooks (CONFIG_AD9081_FAULT_INJECTION only).
 *
 * break_refclk() re-points the transceiver's sys_clk mux at QPLL1, which this
 * bitstream does not drive, so the GT loses its reference clock. The next
 * axi_adxcvr_enable() then exercises adxcvr_reset()'s two-attempt retry and its
 * -ETIMEDOUT report for real, which is what pulling the FMC reference clock
 * would do without needing to touch the board.
 *
 * Only meaningful on an instance that is not already selecting QPLL1 -- the
 * suite uses the RX one, which selects CPLL.
 *
 * restore_refclk() puts the mux back and re-programs the GT dividers.
 * status() is the raw REG_STATUS word, for reporting what the GT said.
 */
int axi_adxcvr_fi_break_refclk(const struct device *dev);
int axi_adxcvr_fi_restore_refclk(const struct device *dev);
uint32_t axi_adxcvr_fi_status(const struct device *dev);
#endif

#endif /* AXI_ADXCVR_H_ */
```

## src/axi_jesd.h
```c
/*
 * AXI JESD204 link cores (RX/TX) -- PL AXI plane probe.
 *
 * SPDX-License-Identifier: Apache-2.0
 */

#ifndef AXI_JESD_H_
#define AXI_JESD_H_

/*
 * Prove the PL AXI plane is alive and the loaded bitstream is the expected MxFE
 * link IP: read the RX and TX JESD204 cores' identity registers (MAGIC tag,
 * PCORE version, synthesised lane count) and validate them.
 *
 * Returns 0 if both cores respond with the correct MAGIC, negative errno
 * otherwise (e.g. -ENODEV if the PL is unconfigured / the wrong bitstream).
 */
int axi_jesd_probe(void);

#endif /* AXI_JESD_H_ */
```
